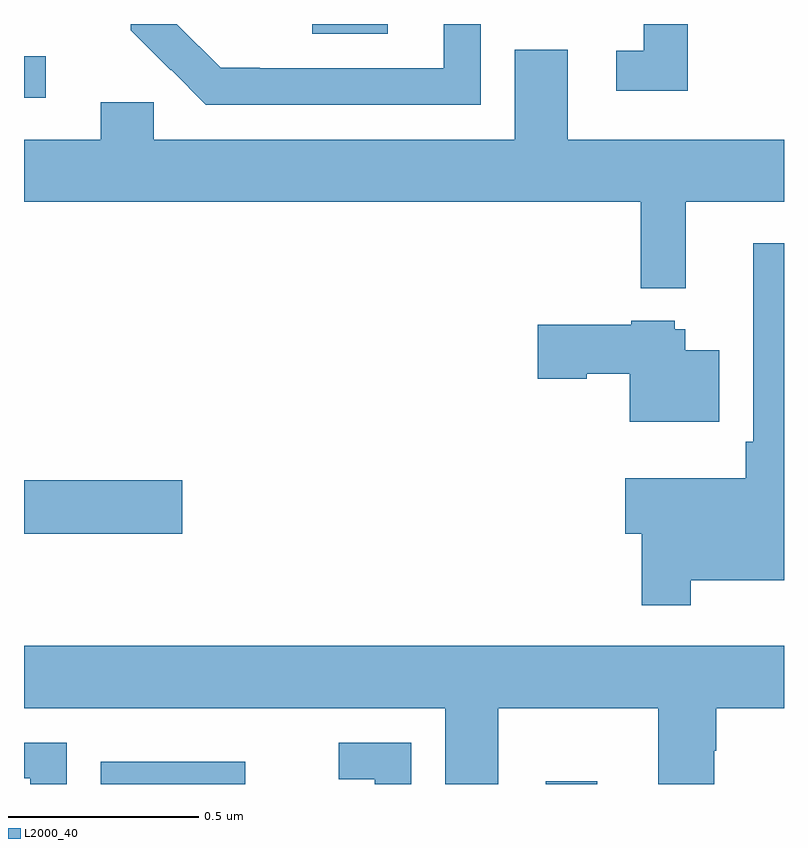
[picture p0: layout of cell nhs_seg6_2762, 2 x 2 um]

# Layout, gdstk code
import gdstk
lib = gdstk.Library(unit=1e-6, precision=1e-09)
def R(c, l, rs):  # rectangles x0, y0, x1, y1
    for r in rs: c.add(gdstk.rectangle(r[:2], r[2:], *l))
def P(c, l, *ps):  # polygons
    for p in ps: c.add(gdstk.Polygon(p, *l))
L2000_40 = (2000, 40)

nhs_seg6_2762 = lib.new_cell('nhs_seg6_2762')
R(nhs_seg6_2762, L2000_40, [(148.202,916.5,148.582,916.558), (149.373,916.5,149.509,916.507), (148,917.158,148.417,917.3), (148,918.306,148.057,918.415), (148.758,918.474,148.957,918.5)])
P(nhs_seg6_2762, L2000_40, [(149.747,918.5),(149.631,918.5),(149.631,918.429),(149.559,918.429),(149.559,918.324),(149.747,918.324)],
  [(149.202,918.5),(149.105,918.5),(149.105,918.384),(148.621,918.384),(148.621,918.385),(148.518,918.385),(148.402,918.5),(148.281,918.5),(148.281,918.483),(148.386,918.378),(148.387,918.379),(148.478,918.288),(149.202,918.288)],
  [(149.741,918.032),(150,918.032),(150,918.196),(149.431,918.196),(149.431,918.432),(149.291,918.432),(149.291,918.196),(148.341,918.196),(148.341,918.294),(148.202,918.294),(148.202,918.196),(148,918.196),(148,918.032),(149.623,918.032),(149.623,917.804),(149.741,917.804)],
  [(149.755,917.036),(150,917.036),(150,917.923),(149.919,917.923),(149.919,917.401),(149.899,917.401),(149.899,917.305),(149.582,917.305),(149.582,917.158),(149.626,917.158),(149.626,916.971),(149.755,916.971)],
  [(149.83,917.641),(149.74,917.641),(149.74,917.697),(149.712,917.697),(149.712,917.719),(149.598,917.719),(149.598,917.709),(149.352,917.709),(149.352,917.567),(149.481,917.567),(149.481,917.579),(149.594,917.579),(149.594,917.453),(149.83,917.453)],
  [(149.248,916.7),(149.669,916.7),(149.669,916.5),(149.817,916.5),(149.817,916.587),(149.822,916.587),(149.822,916.7),(150,916.7),(150,916.864),(148,916.864),(148,916.7),(149.108,916.7),(149.108,916.5),(149.248,916.5)],
  [(149.019,916.608),(148.828,916.608),(148.828,916.513),(148.923,916.513),(148.923,916.5),(149.019,916.5)],
  [(148.113,916.608),(148,916.608),(148,916.515),(148.017,916.515),(148.017,916.5),(148.113,916.5)])

lib.write_gds('nhs_seg6_2762.gds')
